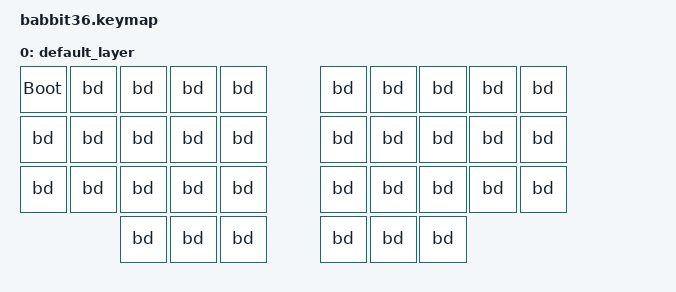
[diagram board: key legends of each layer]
/*
 * Copyright (c) 2020 The ZMK Contributors
 *
 * SPDX-License-Identifier: MIT
 */

#include <behaviors.dtsi>
#include <dt-bindings/zmk/keys.h>
#include <dt-bindings/zmk/bt.h>

/ {
    behaviors {
        bd: happy_birthday {
            compatible = "zmk,behavior-macro";
            #binding-cells = <0>;
            bindings = <&macro_tap &kp LS(H) &kp A &kp P &kp P &kp Y &kp SPACE &kp LS(B) &kp I &kp R &kp T &kp H &kp D &kp A &kp Y &kp EXCL>;
        };
    };
        keymap {
                compatible = "zmk,keymap";

        default_layer {
            bindings = <
      &bootloader &bd &bd &bd &bd &bd &bd &bd &bd &bd
              &bd &bd &bd &bd &bd &bd &bd &bd &bd &bd
              &bd &bd &bd &bd &bd &bd &bd &bd &bd &bd
                      &bd &bd &bd &bd &bd &bd
            >;
        };
    };
};
